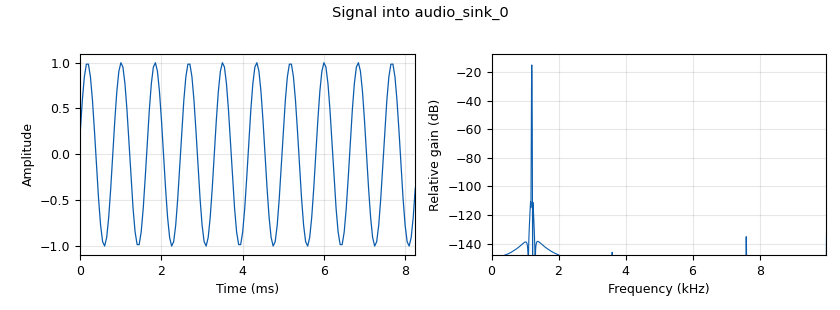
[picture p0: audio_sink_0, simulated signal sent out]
options:
  parameters:
    author: labcom
    generate_options: qt_gui
    id: lab31
    output_language: python
    title: lab3.1
  states: {}

blocks:
- name: inx
  id: variable_qtgui_chooser
  parameters:
    label: entrada
    num_opts: '3'
    option0: '0'
    option1: '1'
    option2: '2'
    type: int
    value: '0'
  states: {}
- name: samp_rate
  id: variable
  parameters:
    value: '20000'
  states: {}
- name: analog_sig_source_x_0
  id: analog_sig_source_x
  parameters:
    amp: '1'
    freq: '1200'
    offset: '0'
    phase: '0'
    samp_rate: samp_rate
    type: float
    waveform: analog.GR_SIN_WAVE
  states: {}
- name: analog_sig_source_x_0_0
  id: analog_sig_source_x
  parameters:
    amp: '1'
    freq: '2200'
    offset: '0'
    phase: '0'
    samp_rate: samp_rate
    type: float
    waveform: analog.GR_SIN_WAVE
  states: {}
- name: analog_sig_source_x_0_0_0
  id: analog_sig_source_x
  parameters:
    amp: '1'
    freq: '2200'
    offset: '0'
    phase: '0'
    samp_rate: samp_rate
    type: float
    waveform: analog.GR_SAW_WAVE
  states: {}
- name: audio_sink_0
  id: audio_sink
  parameters:
    samp_rate: samp_rate
  states: {}
- name: blocks_selector_0
  id: blocks_selector
  parameters:
    enabled: 'True'
    input_index: inx
    num_inputs: '3'
    num_outputs: '1'
    output_index: '0'
    type: float
  states: {}

connections:
- [analog_sig_source_x_0, '0', blocks_selector_0, '0']
- [analog_sig_source_x_0_0, '0', blocks_selector_0, '1']
- [analog_sig_source_x_0_0_0, '0', blocks_selector_0, '2']
- [blocks_selector_0, '0', audio_sink_0, '0']

metadata:
  file_format: 1
